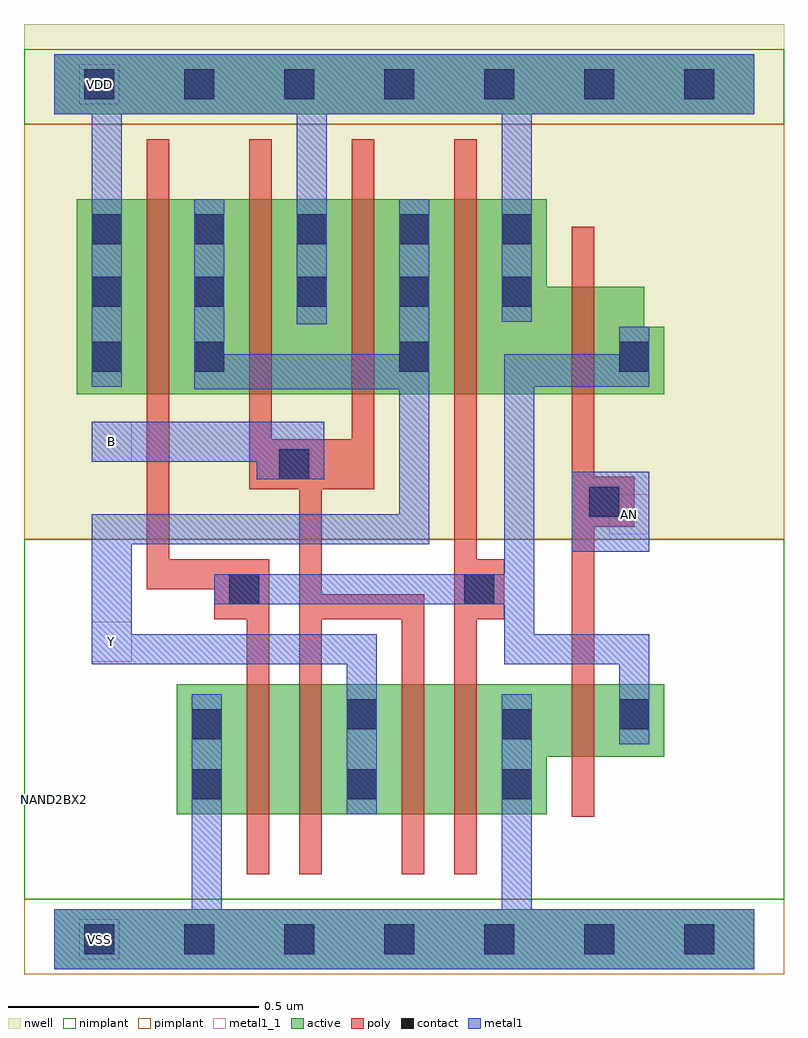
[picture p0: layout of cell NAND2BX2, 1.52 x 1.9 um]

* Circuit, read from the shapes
.subckt NAND2BX2 AN B VDD VSS Y
M1 n1 n2 VSS VSS nfet w=0.26u l=0.045u
M2 Y B n1 VSS nfet w=0.26u l=0.045u
M3 n3 B Y VSS nfet w=0.26u l=0.045u
M4 VSS n2 n3 VSS nfet w=0.26u l=0.045u
M5 n2 AN VSS VSS nfet w=0.145u l=0.045u
M6 Y n2 VDD VDD pfet w=0.39u l=0.045u m=2
M7 VDD B Y VDD pfet w=0.39u l=0.045u m=2
M8 n2 AN VDD VDD pfet w=0.215u l=0.045u
.ends

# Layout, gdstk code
import gdstk
lib = gdstk.Library(unit=1e-6, precision=5e-10)
def R(c, l, rs):  # rectangles x0, y0, x1, y1
    for r in rs: c.add(gdstk.rectangle(r[:2], r[2:], *l))
def A(c, l, x, y, w, h, nx, ny, dx, dy):  # array of equal rectangles
    R(c, l, [(x+i*dx, y+j*dy, x+i*dx+w, y+j*dy+h) for i in range(nx) for j in range(ny)])
def P(c, l, *ps):  # polygons
    for p in ps: c.add(gdstk.Polygon(p, *l))
active = (1, 0)
nwell = (2, 0)
poly = (3, 0)
nimplant = (4, 0)
pimplant = (5, 0)
contact = (6, 0)
metal1 = (7, 0)
metal1_1 = (7, 1)

nand2bx2 = lib.new_cell('NAND2BX2')
R(nand2bx2, active, [(0,-0.06,1.4,0.06), (0,1.65,1.4,1.77)])
P(nand2bx2, active, [(1.22,0.51),(0.245,0.51),(0.245,0.25),(0.985,0.25),(0.985,0.365),(1.22,0.365)],
  [(1.22,1.225),(1.18,1.225),(1.18,1.305),(0.985,1.305),(0.985,1.48),(0.045,1.48),(0.045,1.09),(1.22,1.09)])
R(nand2bx2, nwell, [(-0.06,0.8,1.46,1.83)])
P(nand2bx2, poly, [(0.9,0.76),(0.845,0.76),(0.845,1.6),(0.8,1.6),(0.8,0.13),(0.845,0.13),(0.845,0.64),(0.9,0.64)],
  [(1.16,0.925),(1.08,0.925),(1.08,1.425),(1.035,1.425),(1.035,0.245),(1.08,0.245),(1.08,0.825),(1.16,0.825)],
  [(0.74,0.69),(0.535,0.69),(0.535,0.9),(0.64,0.9),(0.64,1.6),(0.595,1.6),(0.595,1),(0.435,1),(0.435,1.6),(0.39,1.6),(0.39,0.9),(0.49,0.9),(0.49,0.13),(0.535,0.13),(0.535,0.64),(0.695,0.64),(0.695,0.13),(0.74,0.13)],
  [(0.43,0.76),(0.23,0.76),(0.23,1.6),(0.185,1.6),(0.185,0.7),(0.32,0.7),(0.32,0.64),(0.385,0.64),(0.385,0.13),(0.43,0.13)])
R(nand2bx2, nimplant, [(-0.06,0.08,1.46,0.8), (-0.06,1.63,1.46,1.78)])
R(nand2bx2, pimplant, [(-0.06,-0.07,1.46,0.08), (-0.06,0.8,1.46,1.63)])
A(nand2bx2, contact, 0.06, -0.03, 0.06, 0.06, 7, 2, 0.2, 1.71)
A(nand2bx2, contact, 0.275, 0.28, 0.06, 0.06, 3, 1, 0.31, 0)
A(nand2bx2, contact, 0.075, 1.265, 0.06, 0.06, 5, 2, 0.205, 0.125)
R(nand2bx2, contact, [(0.275,0.4,0.335,0.46), (0.895,0.4,0.955,0.46), (0.585,0.42,0.645,0.48), (1.13,0.42,1.19,0.48), (0.35,0.67,0.41,0.73), (0.82,0.67,0.88,0.73), (1.07,0.845,1.13,0.905), (0.45,0.92,0.51,0.98), (0.075,1.135,0.135,1.195), (0.28,1.135,0.34,1.195), (0.69,1.135,0.75,1.195), (1.13,1.135,1.19,1.195)])
R(nand2bx2, metal1, [(1.035,0.775,1.19,0.935)])
P(nand2bx2, metal1, [(1.4,0.06),(0.955,0.06),(0.955,0.49),(0.895,0.49),(0.895,0.06),(0.335,0.06),(0.335,0.49),(0.275,0.49),(0.275,0.06),(0,0.06),(0,-0.06),(1.4,-0.06)],
  [(1.4,1.77),(0,1.77),(0,1.65),(0.075,1.65),(0.075,1.105),(0.135,1.105),(0.135,1.65),(0.485,1.65),(0.485,1.23),(0.545,1.23),(0.545,1.65),(0.895,1.65),(0.895,1.235),(0.955,1.235),(0.955,1.65),(1.4,1.65)],
  [(1.19,0.61),(0.96,0.61),(0.96,1.105),(1.19,1.105),(1.19,1.225),(1.13,1.225),(1.13,1.17),(0.9,1.17),(0.9,0.73),(0.32,0.73),(0.32,0.67),(0.9,0.67),(0.9,0.55),(1.13,0.55),(1.13,0.39),(1.19,0.39)],
  [(0.75,1.48),(0.69,1.48),(0.69,1.17),(0.34,1.17),(0.34,1.48),(0.28,1.48),(0.28,1.1),(0.69,1.1),(0.69,0.85),(0.075,0.85),(0.075,0.55),(0.585,0.55),(0.585,0.25),(0.645,0.25),(0.645,0.61),(0.155,0.61),(0.155,0.79),(0.75,0.79)],
  [(0.54,1.035),(0.075,1.035),(0.075,0.955),(0.405,0.955),(0.405,0.92),(0.54,0.92)])
R(nand2bx2, metal1_1, [(0.05,-0.04,0.13,0.04), (0.075,0.555,0.155,0.635), (1.11,0.81,1.19,0.89), (0.075,0.955,0.155,1.035), (0.05,1.67,0.13,1.75)])
nand2bx2.add(gdstk.Label('AN', (1.15,0.85), layer=7, texttype=1))
nand2bx2.add(gdstk.Label('B', (0.115,0.995), layer=7, texttype=1))
nand2bx2.add(gdstk.Label('Y', (0.115,0.595), layer=7, texttype=1))
nand2bx2.add(gdstk.Label('VDD', (0.09,1.71), layer=7, texttype=1))
nand2bx2.add(gdstk.Label('VSS', (0.09,0), layer=7, texttype=1))
nand2bx2.add(gdstk.Label('NAND2BX2', (0,0.28), layer=63, texttype=0))

lib.write_gds('NAND2BX2.gds')
